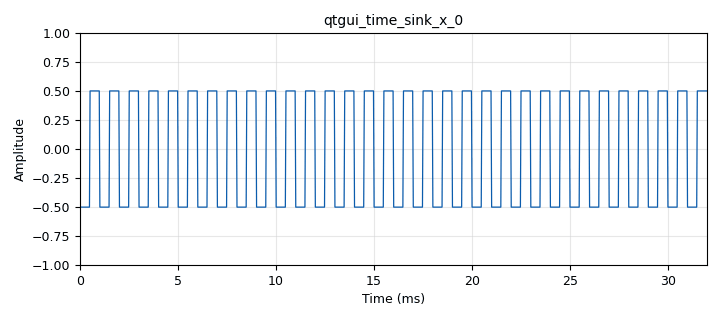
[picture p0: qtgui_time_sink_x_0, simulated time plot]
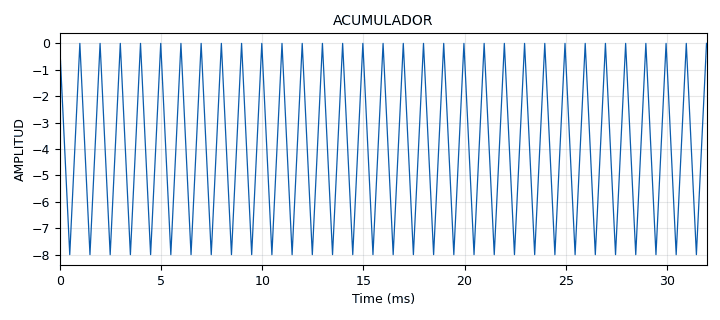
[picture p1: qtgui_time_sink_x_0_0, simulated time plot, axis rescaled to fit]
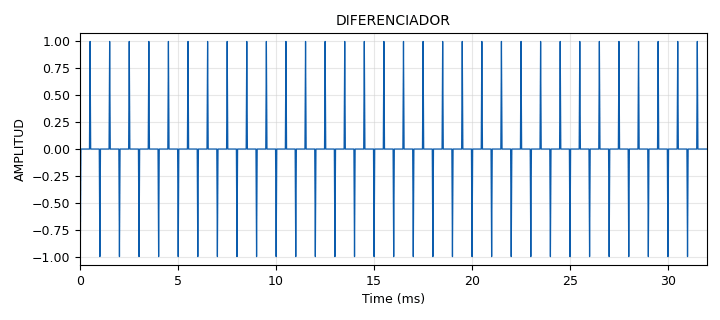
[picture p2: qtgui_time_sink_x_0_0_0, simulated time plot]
options:
  parameters:
    generate_options: qt_gui
    id: untitled
    output_language: python
    title: Not titled yet
  states: {}

blocks:
- name: samp_rate
  id: variable
  parameters:
    value: '32000'
  states: {}
- name: analog_sig_source_x_0
  id: analog_sig_source_x
  parameters:
    amp: '1'
    freq: '1000'
    offset: '-0.5'
    phase: '0'
    samp_rate: samp_rate
    type: float
    waveform: analog.GR_SQR_WAVE
  states: {}
- name: blocks_throttle2_0
  id: blocks_throttle2
  parameters:
    samples_per_second: samp_rate
    type: float
  states: {}
- name: epy_block_0
  id: epy_block
  parameters:
    _source_code: "import numpy as np\nfrom gnuradio import gr\n\nclass blk(gr.sync_block): \n    def __init__(self, example_param=2.0):\n        gr.sync_block.__init__(\n            self,\n            name='e_Acum',\n            in_sig=[np.float32],\n            out_sig=[np.float32]\n        )\n        self.accum = 0.0  # Valor acumulado inicial\n\n    def work(self, input_items, output_items):\n        x = input_items[0]   # Señal de entrada\n        y = output_items[0]  # Señal acumulada\n\n        # Acumulación con estado\n        for i in range(len(x)):\n            self.accum += x[i]\n            y[i] = self.accum\n\n        return len(y)\n\n"
    example_param: '2.0'
  states: {}
- name: epy_block_1
  id: epy_block
  parameters:
    _source_code: "import numpy as np\nfrom gnuradio import gr\n\nclass blk(gr.sync_block): \n    def __init__(self, example_param=1.0):\n        gr.sync_block.__init__(\n            self,\n            name='e_Diff',\n            in_sig=[np.float32],\n            out_sig=[np.float32]\n        )\n        self.prev = 0.0\n\n    def work(self, input_items, output_items):\n        x = input_items[0]\n        y = output_items[0]\n\n        for i in range(len(x)):\n            y[i] = x[i] - self.prev\n            self.prev = x[i]\n\n        return len(y)\n\n"
    example_param: '1.0'
  states: {}
- name: qtgui_time_sink_x_0
  id: qtgui_time_sink_x
  parameters:
    size: '1024'
    srate: samp_rate
    type: float
  states: {}
- name: qtgui_time_sink_x_0_0
  id: qtgui_time_sink_x
  parameters:
    name: ACUMULADOR
    size: '1024'
    srate: samp_rate
    type: float
    ylabel: AMPLITUD
  states: {}
- name: qtgui_time_sink_x_0_0_0
  id: qtgui_time_sink_x
  parameters:
    grid: 'True'
    name: DIFERENCIADOR
    size: '1024'
    srate: samp_rate
    type: float
    ylabel: AMPLITUD
  states: {}

connections:
- [analog_sig_source_x_0, '0', blocks_throttle2_0, '0']
- [blocks_throttle2_0, '0', epy_block_0, '0']
- [blocks_throttle2_0, '0', epy_block_1, '0']
- [blocks_throttle2_0, '0', qtgui_time_sink_x_0, '0']
- [epy_block_0, '0', qtgui_time_sink_x_0_0, '0']
- [epy_block_1, '0', qtgui_time_sink_x_0_0_0, '0']

metadata:
  file_format: 1
  grc_version: 3.10.12.0
